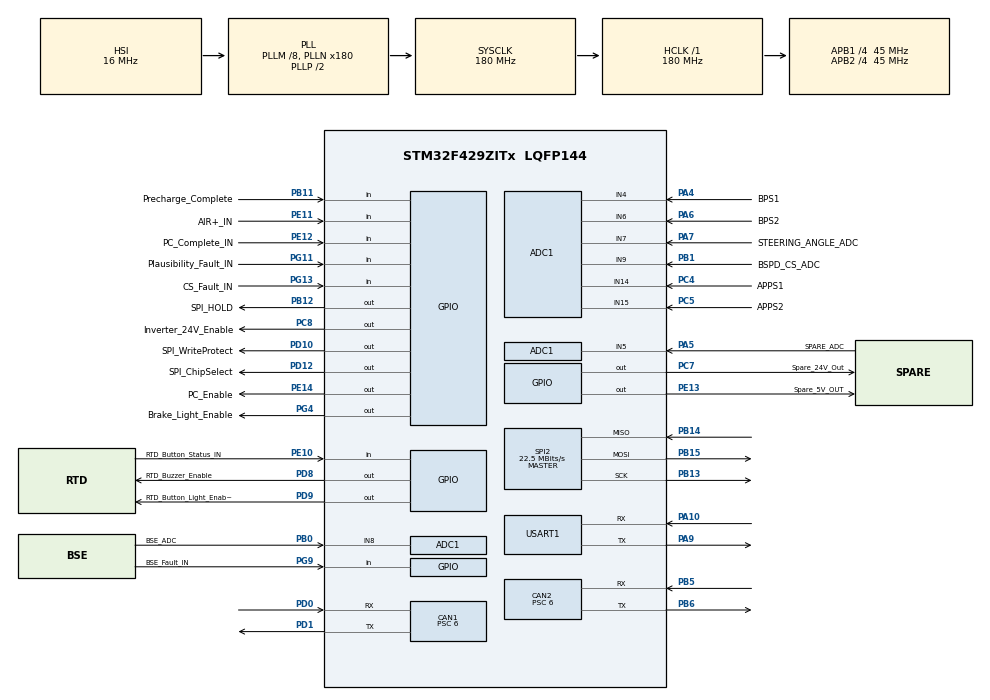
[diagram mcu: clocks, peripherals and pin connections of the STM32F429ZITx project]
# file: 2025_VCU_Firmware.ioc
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ADC1.Channel-1\#ChannelRegularConversion=ADC_CHANNEL_4
ADC1.Channel-2\#ChannelRegularConversion=ADC_CHANNEL_5
ADC1.Channel-3\#ChannelRegularConversion=ADC_CHANNEL_6
ADC1.Channel-4\#ChannelRegularConversion=ADC_CHANNEL_7
ADC1.Channel-5\#ChannelRegularConversion=ADC_CHANNEL_8
ADC1.Channel-6\#ChannelRegularConversion=ADC_CHANNEL_9
ADC1.Channel-7\#ChannelRegularConversion=ADC_CHANNEL_14
ADC1.Channel-8\#ChannelRegularConversion=ADC_CHANNEL_15
ADC1.ClockPrescaler=ADC_CLOCK_SYNC_PCLK_DIV6
ADC1.ContinuousConvMode=ENABLE
ADC1.DMAContinuousRequests=ENABLE
ADC1.EOCSelection=ADC_EOC_SINGLE_CONV
ADC1.ExternalTrigConv=ADC_EXTERNALTRIGCONV_T2_TRGO
ADC1.NbrOfConversion=8
ADC1.NbrOfConversionFlag=1
ADC1.Rank-1\#ChannelRegularConversion=1
ADC1.Rank-2\#ChannelRegularConversion=2
ADC1.Rank-3\#ChannelRegularConversion=3
ADC1.Rank-4\#ChannelRegularConversion=4
ADC1.Rank-5\#ChannelRegularConversion=5
ADC1.Rank-6\#ChannelRegularConversion=6
ADC1.Rank-7\#ChannelRegularConversion=7
ADC1.Rank-8\#ChannelRegularConversion=8
ADC1.SamplingTime-1\#ChannelRegularConversion=ADC_SAMPLETIME_480CYCLES
ADC1.SamplingTime-2\#ChannelRegularConversion=ADC_SAMPLETIME_480CYCLES
ADC1.SamplingTime-3\#ChannelRegularConversion=ADC_SAMPLETIME_480CYCLES
ADC1.SamplingTime-4\#ChannelRegularConversion=ADC_SAMPLETIME_480CYCLES
ADC1.SamplingTime-5\#ChannelRegularConversion=ADC_SAMPLETIME_480CYCLES
ADC1.SamplingTime-6\#ChannelRegularConversion=ADC_SAMPLETIME_480CYCLES
ADC1.SamplingTime-7\#ChannelRegularConversion=ADC_SAMPLETIME_480CYCLES
ADC1.SamplingTime-8\#ChannelRegularConversion=ADC_SAMPLETIME_480CYCLES
ADC1.ScanConvMode=ENABLE
ADC1.master=1
CAN1.ABOM=ENABLE
CAN1.BS1=CAN_BS1_12TQ
CAN1.BS2=CAN_BS2_2TQ
CAN1.CalculateBaudRate=500000
CAN1.CalculateTimeBit=2000
CAN1.CalculateTimeQuantum=133.33333333333331
CAN1.NART=ENABLE
CAN1.Prescaler=6
CAN1.SJW=CAN_SJW_2TQ
CAN2.ABOM=ENABLE
CAN2.AWUM=DISABLE
CAN2.BS1=CAN_BS1_12TQ
CAN2.BS2=CAN_BS2_2TQ
CAN2.CalculateBaudRate=500000
CAN2.CalculateTimeBit=2000
CAN2.CalculateTimeQuantum=133.33333333333331
CAN2.NART=ENABLE
CAN2.Prescaler=6
CAN2.RFLM=DISABLE
CAN2.SJW=CAN_SJW_2TQ
Dma.ADC1.0.Direction=DMA_PERIPH_TO_MEMORY
Dma.ADC1.0.FIFOMode=DMA_FIFOMODE_DISABLE
Dma.ADC1.0.Instance=DMA2_Stream0
Dma.ADC1.0.MemDataAlignment=DMA_MDATAALIGN_HALFWORD
Dma.ADC1.0.MemInc=DMA_MINC_ENABLE
Dma.ADC1.0.Mode=DMA_CIRCULAR
Dma.ADC1.0.PeriphDataAlignment=DMA_PDATAALIGN_HALFWORD
Dma.ADC1.0.PeriphInc=DMA_PINC_DISABLE
Dma.ADC1.0.Priority=DMA_PRIORITY_LOW
Dma.Request0=ADC1
FREERTOS.Events01=CalibrationDataReceived_Event,Dynamic,NULL;PedalsOutOfRangeFault_Event,Dynamic,NULL;APPS_Implausibility_Event,Dynamic,NULL;Screenshot_Event,Dynamic,NULL
FREERTOS.Mutexes01=CAN1_Mutex,Dynamic,NULL,Available;CAN2_Mutex,Dynamic,NULL,Available;SystemState_Mutex,Dynamic,NULL,Available;VehicleState_Mutex,Dynamic,NULL,Available;InverterData1_Mutex,Dynamic,NULL,Available;InverterData2_Mutex,Dynamic,NULL,Available;PedalsState_Mutex,Dynamic,NULL,Available;PedalsFaults_Mutex,Dynamic,NULL,Available;DataToLog_Mutex,Dynamic,NULL,Available;RawADC_Values_Mutex,Dynamic,NULL,Available;EintData_Mutex,Dynamic,NULL,Available
FREERTOS.Queues01=StateTransitionQueue,4,SystemEvent_t,0,Dynamic,NULL,NULL;CanMsgQueue,16,CanMsg_t,0,Dynamic,NULL,NULL;PedalsADCQueue,1,PedalsADC_t,0,Dynamic,NULL,NULL;CalibrationDataQueue,1,CalibrationData_t,0,Dynamic,NULL,NULL;ADCsToLogQueue,4,ADCsToLog_t,0,Dynamic,NULL,NULL
FREERTOS.Tasks01=LogTaskStackUsage,8,128,Task_LogTaskStackUsage,Default,NULL,Dynamic,NULL,NULL;CalibrateTask,24,128,Task_Car_Calibration,As external,NULL,Dynamic,NULL,NULL;RTD_Task,24,128,Task_RTD,As external,NULL,Dynamic,NULL,NULL;ProcessADC_Task,24,128,Task_Process_ADC,As external,NULL,Dynamic,NULL,NULL;PedalsDataTask,24,128,Task_Process_Pedals_Data,As external,NULL,Dynamic,NULL,NULL;VehicleCtrlTask,24,128,Task_Vehicle_Ctrl,As external,NULL,Dynamic,NULL,NULL;StateCtrlTask,24,128,Task_State_Ctrl,As external,NULL,Dynamic,NULL,NULL;ProcessCAN_Task,24,128,Task_Process_CAN_Msgs,As external,NULL,Dynamic,NULL,NULL;HandleGUI_Task,16,128,Task_HandleGUI,As external,NULL,Dynamic,NULL,NULL;LogVehicleData_Task,24,128,Task_LogVehicleData,As external,NULL,Dynamic,NULL,NULL;VehicleFaultHandler_Task,24,128,Task_VehicleFaultHandler,As external,NULL,Dynamic,NULL,NULL
FREERTOS.Timers01=RTD_Button_Timer,RTD_Button_Timer_Callback,osTimerOnce,As external,NULL,Dynamic,NULL;InverterCAN_Transmit_Timer,InverterCAN_Transmit_Callback,osTimerPeriodic,As external,NULL,Dynamic,NULL;RTD_Buzzer_Timer,RTD_Buzzer_Timer_Callback,osTimerOnce,As external,NULL,Dynamic,NULL;APPS_1_OutOfRange_Timer,APPS_1_OutOfRange_Timer_Callback,osTimerOnce,As external,NULL,Dynamic,NULL;BSE_OutOfRange_Timer,BSE_OutOfRange_Timer_Callback,osTimerOnce,As external,NULL,Dynamic,NULL;APPS_Implausibility_Timer,APPS_Implausibility_Timer_Callback,osTimerOnce,As external,NULL,Dynamic,NULL;APPS_2_OutOfRange_Timer,APPS_2_OutOfRange_Timer_Callback,osTimerOnce,As external,NULL,Dynamic,NULL;Screenshot_Timer,Screenshot_Timer_Callback,osTimerOnce,As external,NULL,Dynamic,NULL;CAN_2_Transmit_Timer_1,CAN_2_Transmit_Timer_1_Callback,osTimerPeriodic,As external,NULL,Dynamic,NULL;CAN_2_Transmit_Timer_2,CAN_2_Transmit_Timer_2_Callback,osTimerPeriodic,As external,NULL,Dynamic,NULL;Eint_CAN_Transmit_Timer,Eint_CAN_Transmit_Timer_Callback,osTimerPeriodic,As external,NULL,Dynamic,NULL;INV_1_Error_Reset_Timer,INV_1_Error_Reset_Timer_Callback,osTimerOnce,As external,NULL,Dynamic,NULL;INV_2_Error_Reset_Timer,INV_2_Error_Reset_Timer_Callback,osTimerOnce,As external,NULL,Dynamic,NULL;Precharge_Complete_Timer,Precharge_Complete_Timer_Callback,osTimerOnce,As external,NULL,Dynamic,NULL
FREERTOS.configCHECK_FOR_STACK_OVERFLOW=2
FREERTOS.configMAX_TASK_NAME_LEN=255
FREERTOS.configTICK_RATE_HZ=1000
FREERTOS.configTOTAL_HEAP_SIZE=17000
FREERTOS.configUSE_NEWLIB_REENTRANT=1
FREERTOS.configUSE_TICKLESS_IDLE=0
Mcu.Family=STM32F4
Mcu.Name=STM32F429ZITx
Mcu.Package=LQFP144
NVIC.CAN1_RX0_IRQn=true\:5\:0\:false\:false\:true\:true\:true\:true\:true
NVIC.CAN2_RX0_IRQn=true\:5\:0\:false\:false\:true\:true\:true\:true\:true
NVIC.DMA2_Stream0_IRQn=true\:5\:0\:false\:false\:true\:true\:false\:true\:true
NVIC.PriorityGroup=NVIC_PRIORITYGROUP_4
NVIC.TIM2_IRQn=true\:5\:0\:false\:false\:true\:true\:true\:true\:true
NVIC.TIM3_IRQn=true\:5\:0\:false\:false\:true\:true\:true\:true\:true
NVIC.TIM7_IRQn=true\:15\:0\:false\:false\:true\:false\:false\:true\:true
NVIC.TimeBase=TIM7_IRQn
NVIC.TimeBaseIP=TIM7
NVIC.USART1_IRQn=true\:5\:0\:false\:false\:true\:true\:true\:true\:true
PA10.Mode=Asynchronous
PA10.Signal=USART1_RX
PA13.Mode=JTAG_5_pins
PA13.Signal=SYS_JTMS-SWDIO
PA14.Mode=JTAG_5_pins
PA14.Signal=SYS_JTCK-SWCLK
PA15.Mode=JTAG_5_pins
PA15.Signal=SYS_JTDI
PA4.GPIO_Label=BPS1
PA4.Signal=ADCx_IN4
PA5.GPIO_Label=SPARE_ADC
PA5.Signal=ADCx_IN5
PA6.GPIO_Label=BPS2
PA6.Signal=ADCx_IN6
PA7.GPIO_Label=STEERING_ANGLE_ADC
PA7.Signal=ADCx_IN7
PA8.Signal=USART1_CK
PA9.Mode=Asynchronous
PA9.Signal=USART1_TX
PB0.GPIO_Label=BSE_ADC
PB0.Signal=ADCx_IN8
PB1.GPIO_Label=BSPD_CS_ADC
PB1.Signal=ADCx_IN9
PB11.GPIO_Label=Precharge_Complete
PB11.Signal=GPIO_Input
PB12.GPIO_Label=SPI_HOLD
PB12.Signal=GPIO_Output
PB13.Mode=Full_Duplex_Master
PB13.Signal=SPI2_SCK
PB14.Mode=Full_Duplex_Master
PB14.Signal=SPI2_MISO
PB15.Mode=Full_Duplex_Master
PB15.Signal=SPI2_MOSI
PB3.Mode=JTAG_5_pins
PB3.Signal=SYS_JTDO-SWO
PB4.Mode=JTAG_5_pins
PB4.Signal=SYS_JTRST
PB5.Mode=CAN_Activate
PB5.Signal=CAN2_RX
PB6.GPIO_PuPd=GPIO_PULLUP
PB6.Mode=CAN_Activate
PB6.Signal=CAN2_TX
PC14/OSC32_IN.Mode=LSE-External-Clock-Source
PC14/OSC32_IN.Signal=RCC_OSC32_IN
PC15/OSC32_OUT.Mode=LSE-External-Clock-Source
PC15/OSC32_OUT.Signal=RCC_OSC32_OUT
PC4.GPIO_Label=APPS1
PC4.Signal=ADCx_IN14
PC5.GPIO_Label=APPS2
PC5.Signal=ADCx_IN15
PC7.GPIO_Label=Spare_24V_Out
PC7.Signal=GPIO_Output
PC8.GPIO_Label=Inverter_24V_Enable
PC8.Signal=GPIO_Output
PD0.GPIO_Mode=GPIO_MODE_AF_PP
PD0.GPIO_PuPd=GPIO_NOPULL
PD0.GPIO_Speed=GPIO_SPEED_FREQ_VERY_HIGH
PD0.Mode=CAN_Activate
PD0.Signal=CAN1_RX
PD1.GPIO_Mode=GPIO_MODE_AF_PP
PD1.GPIO_PuPd=GPIO_PULLUP
PD1.GPIO_Speed=GPIO_SPEED_FREQ_VERY_HIGH
PD1.Mode=CAN_Activate
PD1.Signal=CAN1_TX
PD10.GPIO_Label=SPI_WriteProtect
PD10.Signal=GPIO_Output
PD12.GPIO_Label=SPI_ChipSelect
PD12.Signal=GPIO_Output
PD8.GPIO_Label=RTD_Buzzer_Enable
PD8.Signal=GPIO_Output
PD9.GPIO_Label=RTD_Button_Light_Enable
PD9.Signal=GPIO_Output
PE10.GPIO_Label=RTD_Button_Status_IN
PE10.Signal=GPIO_Input
PE11.GPIO_Label=AIR+_IN
PE11.Signal=GPIO_Input
PE12.GPIO_Label=PC_Complete_IN
PE12.GPIO_PuPd=GPIO_PULLDOWN
PE12.Signal=GPIO_Input
PE13.GPIO_Label=Spare_5V_OUT
PE13.Signal=GPIO_Output
PE14.GPIO_Label=PC_Enable
PE14.Signal=GPIO_Output
PG11.GPIO_Label=Plausibility_Fault_IN
PG11.GPIO_PuPd=GPIO_PULLDOWN
PG11.Signal=GPIO_Input
PG13.GPIO_Label=CS_Fault_IN
PG13.GPIO_PuPd=GPIO_PULLDOWN
PG13.Signal=GPIO_Input
PG4.GPIO_Label=Brake_Light_Enable
PG4.Signal=GPIO_Output
PG9.GPIO_Label=BSE_Fault_IN
PG9.GPIO_PuPd=GPIO_PULLDOWN
PG9.Signal=GPIO_Input
PH0/OSC_IN.Mode=HSE-External-Clock-Source
PH0/OSC_IN.Signal=RCC_OSC_IN
PH1/OSC_OUT.Mode=HSE-External-Clock-Source
PH1/OSC_OUT.Signal=RCC_OSC_OUT
ProjectManager.HeapSize=0x200
ProjectManager.StackSize=0x400
ProjectManager.TargetToolchain=STM32CubeIDE
RCC.48MHZClocksFreq_Value=90000000
RCC.AHBFreq_Value=180000000
RCC.APB1CLKDivider=RCC_HCLK_DIV4
RCC.APB1Freq_Value=45000000
RCC.APB1TimFreq_Value=90000000
RCC.APB2CLKDivider=RCC_HCLK_DIV4
RCC.APB2Freq_Value=45000000
RCC.APB2TimFreq_Value=90000000
RCC.CortexFreq_Value=180000000
RCC.HCLKFreq_Value=180000000
RCC.HSE_VALUE=25000000
RCC.HSI_VALUE=16000000
RCC.LSE_VALUE=32768
RCC.PLLM=25
RCC.PLLN=360
RCC.PLLSourceVirtual=RCC_PLLSOURCE_HSE
RCC.SYSCLKFreq_VALUE=180000000
RCC.SYSCLKSource=RCC_SYSCLKSOURCE_PLLCLK
RCC.VCOOutputFreq_Value=360000000
SH.ADCx_IN14.0=ADC1_IN14,IN14
SH.ADCx_IN15.0=ADC1_IN15,IN15
SH.ADCx_IN4.0=ADC1_IN4,IN4
SH.ADCx_IN5.0=ADC1_IN5,IN5
SH.ADCx_IN6.0=ADC1_IN6,IN6
SH.ADCx_IN7.0=ADC1_IN7,IN7
SH.ADCx_IN8.0=ADC1_IN8,IN8
SH.ADCx_IN9.0=ADC1_IN9,IN9
SPI2.BaudRatePrescaler=SPI_BAUDRATEPRESCALER_2
SPI2.CalculateBaudRate=22.5 MBits/s
SPI2.Direction=SPI_DIRECTION_2LINES
SPI2.Mode=SPI_MODE_MASTER
SPI2.VirtualType=VM_MASTER
TIM1.AutoReloadPreload=TIM_AUTORELOAD_PRELOAD_ENABLE
TIM1.Period=72-1
TIM1.Prescaler=100-1
TIM2.Period=3000-1
TIM2.Prescaler=16000-1
TIM2.TIM_MasterOutputTrigger=TIM_TRGO_UPDATE
TIM2.TIM_MasterSlaveMode=TIM_MASTERSLAVEMODE_ENABLE
TIM3.Period=500-1
TIM3.Prescaler=16000-1
TIM3.TIM_MasterOutputTrigger=TIM_TRGO_UPDATE
TIM3.TIM_MasterSlaveMode=TIM_MASTERSLAVEMODE_ENABLE
USART1.VirtualMode=VM_ASYNC
VP_FREERTOS_VS_CMSIS_V2.Mode=CMSIS_V2
VP_SYS_VS_tim7.Mode=TIM7
VP_TIM1_VS_ClockSourceINT.Mode=Internal
VP_TIM2_VS_ClockSourceINT.Mode=Internal
VP_TIM3_VS_ClockSourceINT.Mode=Internal
board=custom

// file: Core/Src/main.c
/* USER CODE BEGIN Header */
/**
  ******************************************************************************
  * @file           : main.c
  * @brief          : Main program body
  ******************************************************************************
  * @attention
  *
  * Copyright (c) 2024 STMicroelectronics.
  * All rights reserved.
  *
  * This software is licensed under terms that can be found in the LICENSE file
  * in the root directory of this software component.
  * If no LICENSE file comes with this software, it is provided AS-IS.
  *
  ******************************************************************************
  */
/* USER CODE END Header */
#include "main.h"
#include "cmsis_os.h"
#include "adc.h"
#include "can.h"
#include "dma.h"
#include "spi.h"
#include "tim.h"
#include "usart.h"
#include "gpio.h"

/* USER CODE BEGIN Includes */

//#include "data_structures.h"
#include "app/state_control.h"
#include <stdlib.h>
#include <config/vehicle_data_structs.h>
#include <config/amk_data_structs.h>
#include "app/log_vehicle_data.h"

/* USER CODE END Includes */

/* USER CODE BEGIN PTD */

// Define references to data structs

SystemState_t system_state;

VehicleState_t vehicle_state_data;
VehicleState_t* p_vehicle_state_data = &vehicle_state_data;

InverterData_t inverter_data_1;
InverterData_t inverter_data_2;
InverterData_t* p_inverter_data_1 = &inverter_data_1;
InverterData_t* p_inverter_data_2 = &inverter_data_2;

InverterStatus_t inverter_status_1;
InverterStatus_t inverter_status_2;
InverterStatus_t* p_inverter_status_1 = &inverter_status_1;
InverterStatus_t* p_inverter_status_2 = &inverter_status_2;

InverterSetpoints_t inverter_setpoints_1;
InverterSetpoints_t inverter_setpoints_2;
InverterSetpoints_t* p_inverter_setpoints_1 = &inverter_setpoints_1;
InverterSetpoints_t* p_inverter_setpoints_2 = &inverter_setpoints_2;

PedalsState_t pedals_state_data;
PedalsState_t* p_pedals_state_data = &pedals_state_data;

PedalsFaults_t pedals_faults_data;
PedalsFaults_t* p_pedals_faults_data = &pedals_faults_data;

QueueErrors_t queue_errors_data;
QueueErrors_t* p_queue_errors_data = &queue_errors_data;

// TestingVCU_t testing_vcu_data;
// TestingVCU_t* p_testing_vcu_data = &testing_vcu_data;

FreertosTaskStackUsage_t freertos_task_stack_usage;
FreertosTaskStackUsage_t* p_freertos_task_stack_usage = &freertos_task_stack_usage;

DataToLog_t data_to_log;
DataToLog_t* p_data_to_log = &data_to_log;

// CAN definitions
CAN_TxHeaderTypeDef TxHeader;
CAN_RxHeaderTypeDef RxHeader;

uint32_t TxMailbox;
uint32_t TxMailbox_CAN2;

uint16_t raw_ADC_values[ADC_BUFFER_LENGTH] = {0};

/* USER CODE END PTD */

void SystemClock_Config(void);
void MX_FREERTOS_Init(void);

int main(void)
{

  /* MCU Configuration--------------------------------------------------------*/

  /* Reset of all peripherals, Initializes the Flash interface and the Systick. */
  HAL_Init();

  /* Configure the system clock */
  SystemClock_Config();

  /* Initialize all configured peripherals */
  MX_GPIO_Init();
  MX_DMA_Init();
  MX_ADC1_Init();
  MX_SPI2_Init();
  MX_CAN1_Init();
  MX_CAN2_Init();
  MX_TIM2_Init();
  MX_TIM3_Init();
  MX_TIM1_Init();
  MX_USART1_UART_Init();
  /* USER CODE BEGIN 2 */

  // Start ADC
  HAL_ADC_Start_DMA(&hadc1, (uint32_t*) raw_ADC_values, ADC_BUFFER_LENGTH);

  // Start timer 2, which triggers ADC readings
  HAL_TIM_Base_Start(&htim2);

  // Start timer 3 which ...
  HAL_TIM_Base_Start_IT(&htim1);

  // Initialise CAN 1
  //HAL_CAN_Init(&hcan1);

  // Initialise CAN 2
  //HAL_CAN_Init(&hcan2);

  // Initalise CAN Filter Mask functions
  User_MX_CAN1_Init();
  User_MX_CAN2_Init();

  system_state = STATE_IDLE;	// Initial state

  initialise_vehicle_state_data(p_vehicle_state_data);

  initialise_inverter_data(p_inverter_data_1);
  initialise_inverter_data(p_inverter_data_2);

  initialise_inverter_status(p_inverter_status_1);
  initialise_inverter_status(p_inverter_status_2);

  initialise_inverter_setpoints(p_inverter_setpoints_1);
  initialise_inverter_setpoints(p_inverter_setpoints_2);

  initialise_pedals_state(p_pedals_state_data);

  initialise_pedals_faults(p_pedals_faults_data);

  initialise_queue_errors(p_queue_errors_data);

  // initialise_testing_VCU_data(p_testing_vcu_data);

  initialise_freertos_task_stack_usage(p_freertos_task_stack_usage);

  /* USER CODE END 2 */

  /* Init scheduler */
  osKernelInitialize();  /* Call init function for freertos objects (in cmsis_os2.c) */
  MX_FREERTOS_Init();

  /* Start scheduler */
  osKernelStart();

  /* We should never get here as control is now taken by the scheduler */

  /* Infinite loop */
  while (1)
  {

  }
}

void SystemClock_Config(void)
{
  RCC_OscInitTypeDef RCC_OscInitStruct = {0};
  RCC_ClkInitTypeDef RCC_ClkInitStruct = {0};

  /** Configure the main internal regulator output voltage
  */
  __HAL_RCC_PWR_CLK_ENABLE();
  __HAL_PWR_VOLTAGESCALING_CONFIG(PWR_REGULATOR_VOLTAGE_SCALE1);

  /** Initializes the RCC Oscillators according to the specified parameters
  * in the RCC_OscInitTypeDef structure.
  */
  RCC_OscInitStruct.OscillatorType = RCC_OSCILLATORTYPE_HSI;
  RCC_OscInitStruct.HSIState = RCC_HSI_ON;
  RCC_OscInitStruct.HSICalibrationValue = RCC_HSICALIBRATION_DEFAULT;
  RCC_OscInitStruct.PLL.PLLState = RCC_PLL_ON;
  RCC_OscInitStruct.PLL.PLLSource = RCC_PLLSOURCE_HSI;
  RCC_OscInitStruct.PLL.PLLM = 8;
  RCC_OscInitStruct.PLL.PLLN = 180;
  RCC_OscInitStruct.PLL.PLLP = RCC_PLLP_DIV2;
  RCC_OscInitStruct.PLL.PLLQ = 4;
  if (HAL_RCC_OscConfig(&RCC_OscInitStruct) != HAL_OK)
  {
    Error_Handler();
  }

  /** Activate the Over-Drive mode
  */
  if (HAL_PWREx_EnableOverDrive() != HAL_OK)
  {
    Error_Handler();
  }

  /** Initializes the CPU, AHB and APB buses clocks
  */
  RCC_ClkInitStruct.ClockType = RCC_CLOCKTYPE_HCLK|RCC_CLOCKTYPE_SYSCLK
                              |RCC_CLOCKTYPE_PCLK1|RCC_CLOCKTYPE_PCLK2;
  RCC_ClkInitStruct.SYSCLKSource = RCC_SYSCLKSOURCE_PLLCLK;
  RCC_ClkInitStruct.AHBCLKDivider = RCC_SYSCLK_DIV1;
  RCC_ClkInitStruct.APB1CLKDivider = RCC_HCLK_DIV4;
  RCC_ClkInitStruct.APB2CLKDivider = RCC_HCLK_DIV4;

  if (HAL_RCC_ClockConfig(&RCC_ClkInitStruct, FLASH_LATENCY_5) != HAL_OK)
  {
    Error_Handler();
  }
}

void HAL_TIM_PeriodElapsedCallback(TIM_HandleTypeDef *htim)
{
  if (htim->Instance == TIM7)
  {
    HAL_IncTick();
  }
}

void Error_Handler(void)
{
  __disable_irq();
  while (1)
  {
  }
}

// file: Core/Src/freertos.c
/* USER CODE BEGIN Header */
/**
  ******************************************************************************
  * File Name          : freertos.c
  * Description        : Code for freertos applications
  ******************************************************************************
  * @attention
  *
  * Copyright (c) 2024 STMicroelectronics.
  * All rights reserved.
  *
  * This software is licensed under terms that can be found in the LICENSE file
  * in the root directory of this software component.
  * If no LICENSE file comes with this software, it is provided AS-IS.
  *
  ******************************************************************************
  */
/* USER CODE END Header */

#include "FreeRTOS.h"
#include "task.h"
#include "main.h"
#include "cmsis_os.h"

/* USER CODE BEGIN Includes */

#include "app/state_control.h"
#include "app/process_adc.h"
#include "app/calibration.h"
#include "app/handle_gui.h"
#include "app/process_pedals_data.h"
#include "app/RTD.h"
#include "app/vehicle_control.h"
#include "app/log_vehicle_data.h"
#include "app/vehicle_fault_handler.h"
#include "drivers/can_driver.h"

#include "config/vcu_config.h"

#include <stdlib.h>
#include "can.h"
#include "adc.h"
#include "tim.h"
#include "cmt_utils.h"

/* USER CODE END Includes */

/* Definitions for LogTaskStackUsage */
osThreadId_t LogTaskStackUsageHandle;
const osThreadAttr_t LogTaskStackUsage_attributes = {
  .name = "LogTaskStackUsage",
  .stack_size = 128 * 4,
  .priority = (osPriority_t) osPriorityLow,
};
/* Definitions for CalibrateTask */
osThreadId_t CalibrateTaskHandle;
const osThreadAttr_t CalibrateTask_attributes = {
  .name = "CalibrateTask",
  .stack_size = 128 * 4,
  .priority = (osPriority_t) osPriorityNormal,
};
/* Definitions for RTD_Task */
osThreadId_t RTD_TaskHandle;
const osThreadAttr_t RTD_Task_attributes = {
  .name = "RTD_Task",
  .stack_size = 128 * 4,
  .priority = (osPriority_t) osPriorityNormal,
};
/* Definitions for ProcessADC_Task */
osThreadId_t ProcessADC_TaskHandle;
const osThreadAttr_t ProcessADC_Task_attributes = {
  .name = "ProcessADC_Task",
  .stack_size = 128 * 4,
  .priority = (osPriority_t) osPriorityNormal,
};
/* Definitions for PedalsDataTask */
osThreadId_t PedalsDataTaskHandle;
const osThreadAttr_t PedalsDataTask_attributes = {
  .name = "PedalsDataTask",
  .stack_size = 128 * 4,
  .priority = (osPriority_t) osPriorityNormal,
};
/* Definitions for VehicleCtrlTask */
osThreadId_t VehicleCtrlTaskHandle;
const osThreadAttr_t VehicleCtrlTask_attributes = {
  .name = "VehicleCtrlTask",
  .stack_size = 128 * 4,
  .priority = (osPriority_t) osPriorityNormal,
};
/* Definitions for StateCtrlTask */
osThreadId_t StateCtrlTaskHandle;
const osThreadAttr_t StateCtrlTask_attributes = {
  .name = "StateCtrlTask",
  .stack_size = 128 * 4,
  .priority = (osPriority_t) osPriorityNormal,
};
/* Definitions for ProcessCAN_Task */
osThreadId_t ProcessCAN_TaskHandle;
const osThreadAttr_t ProcessCAN_Task_attributes = {
  .name = "ProcessCAN_Task",
  .stack_size = 128 * 4,
  .priority = (osPriority_t) osPriorityNormal,
};
/* Definitions for HandleGUI_Task */
osThreadId_t HandleGUI_TaskHandle;
const osThreadAttr_t HandleGUI_Task_attributes = {
  .name = "HandleGUI_Task",
  .stack_size = 128 * 4,
  .priority = (osPriority_t) osPriorityBelowNormal,
};
/* Definitions for LogVehicleData_Task */
osThreadId_t LogVehicleData_TaskHandle;
const osThreadAttr_t LogVehicleData_Task_attributes = {
  .name = "LogVehicleData_Task",
  .stack_size = 128 * 4,
  .priority = (osPriority_t) osPriorityNormal,
};
/* Definitions for VehicleFaultHandler_Task */
osThreadId_t VehicleFaultHandler_TaskHandle;
const osThreadAttr_t VehicleFaultHandler_Task_attributes = {
  .name = "VehicleFaultHandler_Task",
  .stack_size = 128 * 4,
  .priority = (osPriority_t) osPriorityNormal,
};
/* Definitions for StateTransitionQueue */
osMessageQueueId_t StateTransitionQueueHandle;
const osMessageQueueAttr_t StateTransitionQueue_attributes = {
  .name = "StateTransitionQueue"
};
/* Definitions for CanMsgQueue */
osMessageQueueId_t CanMsgQueueHandle;
const osMessageQueueAttr_t CanMsgQueue_attributes = {
  .name = "CanMsgQueue"
};
/* Definitions for PedalsADCQueue */
osMessageQueueId_t PedalsADCQueueHandle;
const osMessageQueueAttr_t PedalsADCQueue_attributes = {
  .name = "PedalsADCQueue"
};
/* Definitions for CalibrationDataQueue */
osMessageQueueId_t CalibrationDataQueueHandle;
const osMessageQueueAttr_t CalibrationDataQueue_attributes = {
  .name = "CalibrationDataQueue"
};
/* Definitions for ADCsToLogQueue */
osMessageQueueId_t ADCsToLogQueueHandle;
const osMessageQueueAttr_t ADCsToLogQueue_attributes = {
  .name = "ADCsToLogQueue"
};
/* Definitions for RTD_Button_Timer */
osTimerId_t RTD_Button_TimerHandle;
const osTimerAttr_t RTD_Button_Timer_attributes = {
  .name = "RTD_Button_Timer"
};
/* Definitions for InverterCAN_Transmit_Timer */
osTimerId_t InverterCAN_Transmit_TimerHandle;
const osTimerAttr_t InverterCAN_Transmit_Timer_attributes = {
  .name = "InverterCAN_Transmit_Timer"
};
/* Definitions for RTD_Buzzer_Timer */
osTimerId_t RTD_Buzzer_TimerHandle;
const osTimerAttr_t RTD_Buzzer_Timer_attributes = {
  .name = "RTD_Buzzer_Timer"
};
/* Definitions for APPS_1_OutOfRange_Timer */
osTimerId_t APPS_1_OutOfRange_TimerHandle;
const osTimerAttr_t APPS_1_OutOfRange_Timer_attributes = {
  .name = "APPS_1_OutOfRange_Timer"
};
/* Definitions for BSE_OutOfRange_Timer */
osTimerId_t BSE_OutOfRange_TimerHandle;
const osTimerAttr_t BSE_OutOfRange_Timer_attributes = {
  .name = "BSE_OutOfRange_Timer"
};
/* Definitions for APPS_Implausibility_Timer */
osTimerId_t APPS_Implausibility_TimerHandle;
const osTimerAttr_t APPS_Implausibility_Timer_attributes = {
  .name = "APPS_Implausibility_Timer"
};
/* Definitions for APPS_2_OutOfRange_Timer */
osTimerId_t APPS_2_OutOfRange_TimerHandle;
const osTimerAttr_t APPS_2_OutOfRange_Timer_attributes = {
  .name = "APPS_2_OutOfRange_Timer"
};
/* Definitions for Screenshot_Timer */
osTimerId_t Screenshot_TimerHandle;
const osTimerAttr_t Screenshot_Timer_attributes = {
  .name = "Screenshot_Timer"
};
/* Definitions for CAN_2_Transmit_Timer_1 */
osTimerId_t CAN_2_Transmit_Timer_1Handle;
const osTimerAttr_t CAN_2_Transmit_Timer_1_attributes = {
  .name = "CAN_2_Transmit_Timer_1"
};
/* Definitions for CAN_2_Transmit_Timer_2 */
osTimerId_t CAN_2_Transmit_Timer_2Handle;
const osTimerAttr_t CAN_2_Transmit_Timer_2_attributes = {
  .name = "CAN_2_Transmit_Timer_2"
};
/* Definitions for Eint_CAN_Transmit_Timer */
osTimerId_t Eint_CAN_Transmit_TimerHandle;
const osTimerAttr_t Eint_CAN_Transmit_Timer_attributes = {
  .name = "Eint_CAN_Transmit_Timer"
};
/* Definitions for INV_1_Error_Reset_Timer */
osTimerId_t INV_1_Error_Reset_TimerHandle;
const osTimerAttr_t INV_1_Error_Reset_Timer_attributes = {
  .name = "INV_1_Error_Reset_Timer"
};
/* Definitions for INV_2_Error_Reset_Timer */
osTimerId_t INV_2_Error_Reset_TimerHandle;
const osTimerAttr_t INV_2_Error_Reset_Timer_attributes = {
  .name = "INV_2_Error_Reset_Timer"
};
/* Definitions for Precharge_Complete_Timer */
osTimerId_t Precharge_Complete_TimerHandle;
const osTimerAttr_t Precharge_Complete_Timer_attributes = {
  .name = "Precharge_Complete_Timer"
};
/* Definitions for CAN1_Mutex */
osMutexId_t CAN1_MutexHandle;
const osMutexAttr_t CAN1_Mutex_attributes = {
  .name = "CAN1_Mutex"
};
/* Definitions for CAN2_Mutex */
osMutexId_t CAN2_MutexHandle;
const osMutexAttr_t CAN2_Mutex_attributes = {
  .name = "CAN2_Mutex"
};
/* Definitions for SystemState_Mutex */
osMutexId_t SystemState_MutexHandle;
const osMutexAttr_t SystemState_Mutex_attributes = {
  .name = "SystemState_Mutex"
};
/* Definitions for VehicleState_Mutex */
osMutexId_t VehicleState_MutexHandle;
const osMutexAttr_t VehicleState_Mutex_attributes = {
  .name = "VehicleState_Mutex"
};
/* Definitions for InverterData1_Mutex */
osMutexId_t InverterData1_MutexHandle;
const osMutexAttr_t InverterData1_Mutex_attributes = {
  .name = "InverterData1_Mutex"
};
/* Definitions for InverterData2_Mutex */
osMutexId_t InverterData2_MutexHandle;
const osMutexAttr_t InverterData2_Mutex_attributes = {
  .name = "InverterData2_Mutex"
};
/* Definitions for PedalsState_Mutex */
osMutexId_t PedalsState_MutexHandle;
const osMutexAttr_t PedalsState_Mutex_attributes = {
  .name = "PedalsState_Mutex"
};
/* Definitions for PedalsFaults_Mutex */
osMutexId_t PedalsFaults_MutexHandle;
const osMutexAttr_t PedalsFaults_Mutex_attributes = {
  .name = "PedalsFaults_Mutex"
};
/* Definitions for DataToLog_Mutex */
osMutexId_t DataToLog_MutexHandle;
const osMutexAttr_t DataToLog_Mutex_attributes = {
  .name = "DataToLog_Mutex"
};
/* Definitions for RawADC_Values_Mutex */
osMutexId_t RawADC_Values_MutexHandle;
const osMutexAttr_t RawADC_Values_Mutex_attributes = {
  .name = "RawADC_Values_Mutex"
};
/* Definitions for EintData_Mutex */
osMutexId_t EintData_MutexHandle;
const osMutexAttr_t EintData_Mutex_attributes = {
  .name = "EintData_Mutex"
};
/* Definitions for CalibrationDataReceived_Event */
osEventFlagsId_t CalibrationDataReceived_EventHandle;
const osEventFlagsAttr_t CalibrationDataReceived_Event_attributes = {
  .name = "CalibrationDataReceived_Event"
};
/* Definitions for PedalsOutOfRangeFault_Event */
osEventFlagsId_t PedalsOutOfRangeFault_EventHandle;
const osEventFlagsAttr_t PedalsOutOfRangeFault_Event_attributes = {
  .name = "PedalsOutOfRangeFault_Event"
};
/* Definitions for APPS_Implausibility_Event */
osEventFlagsId_t APPS_Implausibility_EventHandle;
const osEventFlagsAttr_t APPS_Implausibility_Event_attributes = {
  .name = "APPS_Implausibility_Event"
};
/* Definitions for Screenshot_Event */
osEventFlagsId_t Screenshot_EventHandle;
const osEventFlagsAttr_t Screenshot_Event_attributes = {
  .name = "Screenshot_Event"
};

void Task_LogTaskStackUsage(void *argument);
extern void Task_Car_Calibration(void *argument);
extern void Task_RTD(void *argument);
extern void Task_Process_ADC(void *argument);
extern void Task_Process_Pedals_Data(void *argument);
extern void Task_Vehicle_Ctrl(void *argument);
extern void Task_State_Ctrl(void *argument);
extern void Task_Process_CAN_Msgs(void *argument);
extern void Task_HandleGUI(void *argument);
extern void Task_LogVehicleData(void *argument);
extern void Task_VehicleFaultHandler(void *argument);
extern void RTD_Button_Timer_Callback(void *argument);
extern void InverterCAN_Transmit_Callback(void *argument);
extern void RTD_Buzzer_Timer_Callback(void *argument);
extern void APPS_1_OutOfRange_Timer_Callback(void *argument);
extern void BSE_OutOfRange_Timer_Callback(void *argument);
extern void APPS_Implausibility_Timer_Callback(void *argument);
extern void APPS_2_OutOfRange_Timer_Callback(void *argument);
extern void Screenshot_Timer_Callback(void *argument);
extern void CAN_2_Transmit_Timer_1_Callback(void *argument);
extern void CAN_2_Transmit_Timer_2_Callback(void *argument);
extern void Eint_CAN_Transmit_Timer_Callback(void *argument);
extern void INV_1_Error_Reset_Timer_Callback(void *argument);
extern void INV_2_Error_Reset_Timer_Callback(void *argument);
extern void Precharge_Complete_Timer_Callback(void *argument);

void MX_FREERTOS_Init(void); /* (MISRA C 2004 rule 8.1) */

/* Hook prototypes */
void vApplicationStackOverflowHook(xTaskHandle xTask, signed char *pcTaskName);

/* USER CODE BEGIN 4 */
void vApplicationStackOverflowHook(xTaskHandle xTask, signed char *pcTaskName)
{
   /* Run time stack overflow checking is performed if
   configCHECK_FOR_STACK_OVERFLOW is defined to 1 or 2. This hook function is
   called if a stack overflow is detected. */
}
/* USER CODE END 4 */

void MX_FREERTOS_Init(void) {
  /* Create the mutex(es) */
  /* creation of CAN1_Mutex */
  CAN1_MutexHandle = osMutexNew(&CAN1_Mutex_attributes);

  /* creation of CAN2_Mutex */
  CAN2_MutexHandle = osMutexNew(&CAN2_Mutex_attributes);

  /* creation of SystemState_Mutex */
  SystemState_MutexHandle = osMutexNew(&SystemState_Mutex_attributes);

  /* creation of VehicleState_Mutex */
  VehicleState_MutexHandle = osMutexNew(&VehicleState_Mutex_attributes);

  /* creation of InverterData1_Mutex */
  InverterData1_MutexHandle = osMutexNew(&InverterData1_Mutex_attributes);

  /* creation of InverterData2_Mutex */
  InverterData2_MutexHandle = osMutexNew(&InverterData2_Mutex_attributes);

  /* creation of PedalsState_Mutex */
  PedalsState_MutexHandle = osMutexNew(&PedalsState_Mutex_attributes);

  /* creation of PedalsFaults_Mutex */
  PedalsFaults_MutexHandle = osMutexNew(&PedalsFaults_Mutex_attributes);

  /* creation of DataToLog_Mutex */
  DataToLog_MutexHandle = osMutexNew(&DataToLog_Mutex_attributes);

  /* creation of RawADC_Values_Mutex */
  RawADC_Values_MutexHandle = osMutexNew(&RawADC_Values_Mutex_attributes);

  /* creation of EintData_Mutex */
  EintData_MutexHandle = osMutexNew(&EintData_Mutex_attributes);

  /* Create the timer(s) */
  /* creation of RTD_Button_Timer */
  RTD_Button_TimerHandle = osTimerNew(RTD_Button_Timer_Callback, osTimerOnce, NULL, &RTD_Button_Timer_attributes);

  /* creation of InverterCAN_Transmit_Timer */
  InverterCAN_Transmit_TimerHandle = osTimerNew(InverterCAN_Transmit_Callback, osTimerPeriodic, NULL, &InverterCAN_Transmit_Timer_attributes);

  /* creation of RTD_Buzzer_Timer */
  RTD_Buzzer_TimerHandle = osTimerNew(RTD_Buzzer_Timer_Callback, osTimerOnce, NULL, &RTD_Buzzer_Timer_attributes);

  /* creation of APPS_1_OutOfRange_Timer */
  APPS_1_OutOfRange_TimerHandle = osTimerNew(APPS_1_OutOfRange_Timer_Callback, osTimerOnce, NULL, &APPS_1_OutOfRange_Timer_attributes);

  /* creation of BSE_OutOfRange_Timer */
  BSE_OutOfRange_TimerHandle = osTimerNew(BSE_OutOfRange_Timer_Callback, osTimerOnce, NULL, &BSE_OutOfRange_Timer_attributes);

  /* creation of APPS_Implausibility_Timer */
  APPS_Implausibility_TimerHandle = osTimerNew(APPS_Implausibility_Timer_Callback, osTimerOnce, NULL, &APPS_Implausibility_Timer_attributes);

  /* creation of APPS_2_OutOfRange_Timer */
  APPS_2_OutOfRange_TimerHandle = osTimerNew(APPS_2_OutOfRange_Timer_Callback, osTimerOnce, NULL, &APPS_2_OutOfRange_Timer_attributes);

  /* creation of Screenshot_Timer */
  Screenshot_TimerHandle = osTimerNew(Screenshot_Timer_Callback, osTimerOnce, NULL, &Screenshot_Timer_attributes);

  /* creation of CAN_2_Transmit_Timer_1 */
  CAN_2_Transmit_Timer_1Handle = osTimerNew(CAN_2_Transmit_Timer_1_Callback, osTimerPeriodic, NULL, &CAN_2_Transmit_Timer_1_attributes);

  /* creation of CAN_2_Transmit_Timer_2 */
  CAN_2_Transmit_Timer_2Handle = osTimerNew(CAN_2_Transmit_Timer_2_Callback, osTimerPeriodic, NULL, &CAN_2_Transmit_Timer_2_attributes);

  /* creation of Eint_CAN_Transmit_Timer */
  Eint_CAN_Transmit_TimerHandle = osTimerNew(Eint_CAN_Transmit_Timer_Callback, osTimerPeriodic, NULL, &Eint_CAN_Transmit_Timer_attributes);

  /* creation of INV_1_Error_Reset_Timer */
  INV_1_Error_Reset_TimerHandle = osTimerNew(INV_1_Error_Reset_Timer_Callback, osTimerOnce, NULL, &INV_1_Error_Reset_Timer_attributes);

  /* creation of INV_2_Error_Reset_Timer */
  INV_2_Error_Reset_TimerHandle = osTimerNew(INV_2_Error_Reset_Timer_Callback, osTimerOnce, NULL, &INV_2_Error_Reset_Timer_attributes);

  /* creation of Precharge_Complete_Timer */
  Precharge_Complete_TimerHandle = osTimerNew(Precharge_Complete_Timer_Callback, osTimerOnce, NULL, &Precharge_Complete_Timer_attributes);

  /* Create the queue(s) */
  /* creation of StateTransitionQueue */
  StateTransitionQueueHandle = osMessageQueueNew (4, sizeof(SystemEvent_t), &StateTransitionQueue_attributes);

  /* creation of CanMsgQueue */
  CanMsgQueueHandle = osMessageQueueNew (16, sizeof(CanMsg_t), &CanMsgQueue_attributes);

  /* creation of PedalsADCQueue */
  PedalsADCQueueHandle = osMessageQueueNew (1, sizeof(PedalsADC_t), &PedalsADCQueue_attributes);

  /* creation of CalibrationDataQueue */
  CalibrationDataQueueHandle = osMessageQueueNew (1, sizeof(CalibrationData_t), &CalibrationDataQueue_attributes);

  /* creation of ADCsToLogQueue */
  ADCsToLogQueueHandle = osMessageQueueNew (4, sizeof(ADCsToLog_t), &ADCsToLogQueue_attributes);

  /* Create the thread(s) */
  /* creation of LogTaskStackUsage */
  LogTaskStackUsageHandle = osThreadNew(Task_LogTaskStackUsage, NULL, &LogTaskStackUsage_attributes);

  /* creation of CalibrateTask */
  CalibrateTaskHandle = osThreadNew(Task_Car_Calibration, NULL, &CalibrateTask_attributes);

  /* creation of RTD_Task */
  RTD_TaskHandle = osThreadNew(Task_RTD, NULL, &RTD_Task_attributes);

  /* creation of ProcessADC_Task */
  ProcessADC_TaskHandle = osThreadNew(Task_Process_ADC, NULL, &ProcessADC_Task_attributes);

  /* creation of PedalsDataTask */
  PedalsDataTaskHandle = osThreadNew(Task_Process_Pedals_Data, NULL, &PedalsDataTask_attributes);

  /* creation of VehicleCtrlTask */
  VehicleCtrlTaskHandle = osThreadNew(Task_Vehicle_Ctrl, NULL, &VehicleCtrlTask_attributes);

  /* creation of StateCtrlTask */
  StateCtrlTaskHandle = osThreadNew(Task_State_Ctrl, NULL, &StateCtrlTask_attributes);

  /* creation of ProcessCAN_Task */
  ProcessCAN_TaskHandle = osThreadNew(Task_Process_CAN_Msgs, NULL, &ProcessCAN_Task_attributes);

  /* creation of HandleGUI_Task */
  HandleGUI_TaskHandle = osThreadNew(Task_HandleGUI, NULL, &HandleGUI_Task_attributes);

  /* creation of LogVehicleData_Task */
  LogVehicleData_TaskHandle = osThreadNew(Task_LogVehicleData, NULL, &LogVehicleData_Task_attributes);

  /* creation of VehicleFaultHandler_Task */
  VehicleFaultHandler_TaskHandle = osThreadNew(Task_VehicleFaultHandler, NULL, &VehicleFaultHandler_Task_attributes);

  /* creation of CalibrationDataReceived_Event */
  CalibrationDataReceived_EventHandle = osEventFlagsNew(&CalibrationDataReceived_Event_attributes);

  /* creation of PedalsOutOfRangeFault_Event */
  PedalsOutOfRangeFault_EventHandle = osEventFlagsNew(&PedalsOutOfRangeFault_Event_attributes);

  /* creation of APPS_Implausibility_Event */
  APPS_Implausibility_EventHandle = osEventFlagsNew(&APPS_Implausibility_Event_attributes);

  /* creation of Screenshot_Event */
  Screenshot_EventHandle = osEventFlagsNew(&Screenshot_Event_attributes);

}

void Task_LogTaskStackUsage(void *argument)
{
  /* USER CODE BEGIN Task_LogTaskStackUsage */
  /* Infinite loop */
  for(;;)
  {

	  p_freertos_task_stack_usage->unused_words_LogTaskStackUsage =
	  	        osThreadGetStackSpace(LogTaskStackUsageHandle) / sizeof(uint32_t);

	  	  p_freertos_task_stack_usage->unused_words_CalibrateTask =
	  	        osThreadGetStackSpace(CalibrateTaskHandle) / sizeof(uint32_t);

	  	  p_freertos_task_stack_usage->unused_words_RTD_Task =
	  	        osThreadGetStackSpace(RTD_TaskHandle) / sizeof(uint32_t);

	  	  p_freertos_task_stack_usage->unused_words_ProcessADC_Task =
	  	        osThreadGetStackSpace(ProcessADC_TaskHandle) / sizeof(uint32_t);

	  	  p_freertos_task_stack_usage->unused_words_PedalsDataTask =
	  	        osThreadGetStackSpace(PedalsDataTaskHandle) / sizeof(uint32_t);

	  	  p_freertos_task_stack_usage->unused_words_VehicleCtrlTask =
	  	        osThreadGetStackSpace(VehicleCtrlTaskHandle) / sizeof(uint32_t);

	  	  p_freertos_task_stack_usage->unused_words_StateCtrlTask =
	  	        osThreadGetStackSpace(StateCtrlTaskHandle) / sizeof(uint32_t);

	  	  p_freertos_task_stack_usage->unused_words_ProcessCAN_Task =
	  	        osThreadGetStackSpace(ProcessCAN_TaskHandle) / sizeof(uint32_t);

	  	  p_freertos_task_stack_usage->unused_words_HandleGUI_Task =
	  	        osThreadGetStackSpace(HandleGUI_TaskHandle) / sizeof(uint32_t);

	  	  p_freertos_task_stack_usage->unused_words_LogVehicleData_Task =
	  	        osThreadGetStackSpace(LogVehicleData_TaskHandle) / sizeof(uint32_t);

	  	  p_freertos_task_stack_usage->unused_words_VehicleFaultHandler_Task =
	  	        osThreadGetStackSpace(VehicleFaultHandler_TaskHandle) / sizeof(uint32_t);

    osDelay(1);
  }
  /* USER CODE END Task_LogTaskStackUsage */
}
